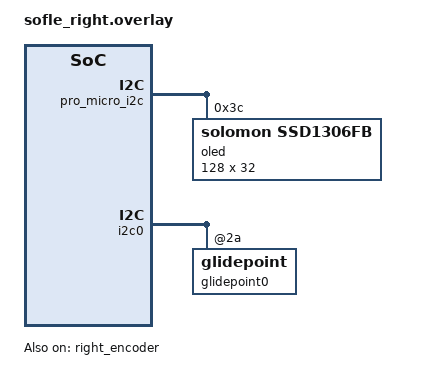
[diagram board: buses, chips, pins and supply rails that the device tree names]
/*
 * Copyright (c) 2020 Ryan Cross
 *
 * SPDX-License-Identifier: MIT
 */

#include "sofle.dtsi"
#include "sofle_cirque.dtsi"

&default_transform {
    col-offset = <6>;
};

&kscan0 {
    col-gpios
        = <&pro_micro 10 GPIO_ACTIVE_HIGH>
        , <&pro_micro 16 GPIO_ACTIVE_HIGH>
        , <&pro_micro 14 GPIO_ACTIVE_HIGH>
        , <&pro_micro 15 GPIO_ACTIVE_HIGH>
        , <&pro_micro 18 GPIO_ACTIVE_HIGH>
        , <&pro_micro 19 GPIO_ACTIVE_HIGH>
        ;
};

&right_encoder {
    status = "okay";
};

&pro_micro_i2c {
    status = "okay";

    oled: ssd1306@3c {
        compatible = "solomon,ssd1306fb";
        reg = <0x3c>;
        width = <128>;
        height = <32>;
        segment-offset = <0>;
        page-offset = <0>;
        display-offset = <0>;
        multiplex-ratio = <31>;
        segment-remap;
        com-invdir;
        com-sequential;
        inversion-on;
        prechargep = <0x22>;
    };
};

// Cirque Trackpad
// Split peripheral input relay module peripheral.
&i2c0 {
    status = "okay";   
    glidepoint0: glidepoint@2a {
        status = "okay";
    };
};

/ {
	glidepoint1: virtual_input {
		compatible = "zmk,virtual-input";
	};

    input_relay_config_102 {
        compatible = "zmk,split-peripheral-input-relay";
        device = <&glidepoint0>;
		relay-channel = <102>;
    };
};
